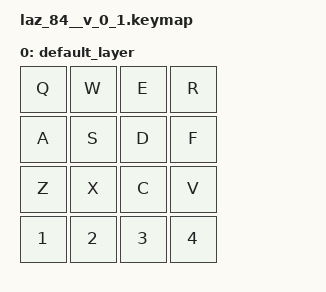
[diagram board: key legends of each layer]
#include <behaviors.dtsi>
#include <dt-bindings/zmk/keys.h>

/ {
    keymap {
        compatible = "zmk,keymap";

        default_layer {
            //  ---------------------------------
            //  |   Q   |   W   |   E   |   R   |
            //  |   A   |   S   |   D   |   F   |
            //  |   Z   |   X   |   C   |   V   |
            //  |   1   |   2   |   3   |   4   |
            bindings = <
                &kp Q   &kp W   &kp E   &kp R
                &kp A   &kp S   &kp D   &kp F
                &kp Z   &kp X   &kp C   &kp V
                &kp N1  &kp N2  &kp N3  &kp N4
            >;
        };
    };
};
